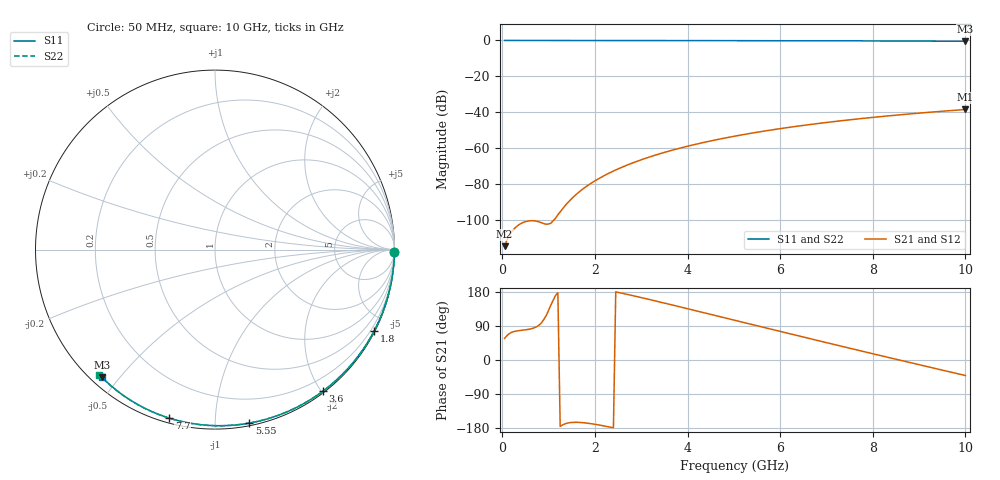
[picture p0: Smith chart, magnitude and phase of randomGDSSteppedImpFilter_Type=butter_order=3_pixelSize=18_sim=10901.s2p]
! freq	dB(S11)	phase(S11)	dB(S12)	phase(S12)
!  dB(S21)	phase(S21)	dB(S22)	phase(S22)
!S-par simulation data
#  GHz  S  DB  R 50
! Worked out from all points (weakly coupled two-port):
!   200 points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, 50 MHz to 10 GHz, reference 50 ohm
!   highest |S21| = -38.35 dB at 10 GHz (marker M1); lowest = -114.3 dB at 50 MHz (marker M2)
!   lowest |S11| = -0.4 dB at 10 GHz (marker M3), VSWR 39.05, Z = 1.54 - j22.5 ohm
!   |S11| at or under -10 dB: nowhere
!   |S22| runs from -0.4 to 0.0 dB; largest |S21 - S12| = 0
!   S11 on the Smith chart (normalised r, x): 50 MHz: open; 1.8 GHz: 0.04, -4.17; 3.6 GHz: 0.02, -2.02; 5.55 GHz: 0.02, -1.22; 7.7 GHz: 0.02, -0.76; 10 GHz: 0.03, -0.45
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0.05  -0.00 -0.8  -114.30 57.2  -114.30 57.2  -0.00 -0.8
0.45  -0.01 -6.8  -101.14 78.9  -101.14 78.9  -0.01 -6.9
0.9  -0.02 -13.6  -101.79 107.5  -101.79 107.5  -0.02 -13.7
1.75  -0.03 -26.2  -82.33 -165.5  -82.33 -165.5  -0.03 -26.4
1.8  -0.03 -27.0  -81.39 -166.1  -81.39 -166.1  -0.03 -27.1
1.85  -0.04 -27.7  -80.50 -166.9  -80.50 -166.9  -0.04 -27.9
1.9  -0.04 -28.4  -79.64 -167.7  -79.64 -167.7  -0.04 -28.6
2.05  -0.04 -30.6  -77.25 -170.6  -77.25 -170.6  -0.04 -30.8
2.25  -0.04 -33.5  -74.43 -175.2  -74.43 -175.2  -0.04 -33.8
2.65  -0.05 -39.3  -69.72 174.5  -69.72 174.5  -0.05 -39.6
3  -0.06 -44.3  -66.30 164.7  -66.30 164.7  -0.06 -44.6
3.4  -0.07 -49.9  -62.96 153.1  -62.96 153.1  -0.07 -50.3
3.6  -0.07 -52.7  -61.46 147.3  -61.46 147.3  -0.07 -53.1
4.3  -0.09 -62.3  -56.95 126.4  -56.95 126.4  -0.09 -62.7
5.05  -0.11 -72.3  -53.03 103.9  -53.03 103.9  -0.11 -72.7
5.55  -0.13 -78.8  -50.80 88.9  -50.80 88.9  -0.13 -79.3
6.1  -0.15 -85.7  -48.62 72.5  -48.62 72.5  -0.15 -86.3
6.7  -0.18 -93.2  -46.52 54.7  -46.52 54.7  -0.18 -93.8
7.7  -0.24 -105.2  -43.53 25.3  -43.53 25.3  -0.24 -105.9
8.35  -0.29 -112.8  -41.87 6.3  -41.87 6.3  -0.29 -113.5
9.15  -0.36 -122.0  -40.05 -16.7  -40.05 -16.7  -0.36 -122.8
10  -0.44 -131.6  -38.35 -41.0  -38.35 -41.0  -0.44 -132.6
